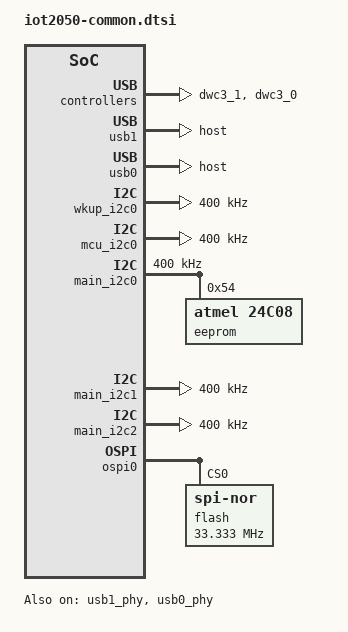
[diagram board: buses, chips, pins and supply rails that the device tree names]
// SPDX-License-Identifier: GPL-2.0
/*
 * (C) Copyright 2019 Siemens AG
 */

/ {
	chosen {
		stdout-path = "serial3:115200n8";
		bootargs = "earlycon=ns16550a,mmio32,0x02800000";
	};

	aliases {
		remoteproc0 = &mcu_r5fss0_core0;
		remoteproc1 = &mcu_r5fss0_core1;
	};
};

&wkup_pmx0 {
	mcu_fss0_ospi0_pins_default: mcu_fss0_ospi0_pins_default {
		pinctrl-single,pins = <
			AM65X_WKUP_IOPAD(0x0000, PIN_OUTPUT, 0) /* (V1) MCU_OSPI0_CLK */
			AM65X_WKUP_IOPAD(0x0008, PIN_INPUT, 0)	 /* (U2) MCU_OSPI0_DQS */
			AM65X_WKUP_IOPAD(0x000c, PIN_OUTPUT, 0)  /* (U4) MCU_OSPI0_D0 */
			AM65X_WKUP_IOPAD(0x0010, PIN_INPUT, 0)  /* (U5) MCU_OSPI0_D1 */
			AM65X_WKUP_IOPAD(0x002c, PIN_OUTPUT, 0) /* (R4) MCU_OSPI0_CSn0 */
		>;
		u-boot,dm-spl;
	};
	wkup_i2c0_pins_default: wkup-i2c0-pins-default {
		pinctrl-single,pins = <
			AM65X_WKUP_IOPAD(0x00e0, PIN_INPUT, 0) /* (AC7) WKUP_I2C0_SCL */
			AM65X_WKUP_IOPAD(0x00e4, PIN_INPUT, 0) /* (AD6) WKUP_I2C0_SDA */
		>;
	};
	mcu_i2c0_pins_default: mcu_i2c0_pins_default {
		pinctrl-single,pins = <
			AM65X_WKUP_IOPAD(0x00e8, PIN_INPUT, 0) /* (AD8) MCU_I2C0_SCL */
			AM65X_WKUP_IOPAD(0x00ec, PIN_INPUT, 0) /* (AD7) MCU_I2C0_SDA */
		>;
	};
};

&main_pmx0 {
	usb0_pins_default: usb0_pins_default {
		pinctrl-single,pins = <
			AM65X_IOPAD(0x02bc, PIN_OUTPUT, 0) /* (AD9) USB0_DRVVBUS */
		>;
	};

	usb1_pins_default: usb1_pins_default {
		pinctrl-single,pins = <
			AM65X_IOPAD(0x02c0, PIN_OUTPUT, 0) /* (AC8) USB1_DRVVBUS */
		>;
	};

	main_i2c2_pins_default: main-i2c2-pins-default {
		pinctrl-single,pins = <
			AM65X_IOPAD(0x0074, PIN_INPUT, 5) /* (T27) GPMC0_CSn3.I2C2_SCL */
			AM65X_IOPAD(0x0070, PIN_INPUT, 5) /* (R25) GPMC0_CSn2.I2C2_SDA */
		>;
	};
};

&main_pmx1 {
	main_i2c0_pins_default: main-i2c0-pins-default {
		pinctrl-single,pins = <
			AM65X_IOPAD(0x0000, PIN_INPUT, 0) /* (D20) I2C0_SCL */
			AM65X_IOPAD(0x0004, PIN_INPUT, 0) /* (C21) I2C0_SDA */
		>;
	};

	main_i2c1_pins_default: main-i2c1-pins-default {
		pinctrl-single,pins = <
			AM65X_IOPAD(0x0008, PIN_INPUT, 0) /* (B21) I2C1_SCL */
			AM65X_IOPAD(0x000c, PIN_INPUT, 0) /* (E21) I2C1_SDA */
		>;
	};
};

&dwc3_1 {
	status = "okay";
};

&usb1_phy {
	status = "okay";
};

&usb1 {
	pinctrl-names = "default";
	pinctrl-0 = <&usb1_pins_default>;
	dr_mode = "host";
};

&dwc3_0 {
	status = "okay";
};

&usb0_phy {
	status = "okay";
};

&usb0 {
	pinctrl-names = "default";
	pinctrl-0 = <&usb0_pins_default>;
	dr_mode = "host";
};

&wkup_i2c0 {
	pinctrl-names = "default";
	pinctrl-0 = <&wkup_i2c0_pins_default>;
	clock-frequency = <400000>;
};

&mcu_i2c0 {
	pinctrl-names = "default";
	pinctrl-0 = <&mcu_i2c0_pins_default>;
	clock-frequency = <400000>;
};

&main_i2c0 {
	pinctrl-names = "default";
	pinctrl-0 = <&main_i2c0_pins_default>;
	clock-frequency = <400000>;
	eeprom: eeprom@54 {
		compatible = "atmel,24c08";
		reg = <0x54>;
		pagesize = <16>;
	};
};

&main_i2c1 {
	pinctrl-names = "default";
	pinctrl-0 = <&main_i2c1_pins_default>;
	clock-frequency = <400000>;
};

&main_i2c2 {
	pinctrl-names = "default";
	pinctrl-0 = <&main_i2c2_pins_default>;
	clock-frequency = <400000>;
};

&ospi0 {
	status = "okay";
	pinctrl-names = "default";
	pinctrl-0 = <&mcu_fss0_ospi0_pins_default>;

	flash@0{
		compatible = "jedec,spi-nor";
		reg = <0x0>;
		spi-tx-bus-width = <1>;
		spi-rx-bus-width = <1>;
		spi-max-frequency = <33333334>;
		cdns,tshsl-ns = <60>;
		cdns,tsd2d-ns = <60>;
		cdns,tchsh-ns = <60>;
		cdns,tslch-ns = <60>;
		cdns,read-delay = <0>;
		#address-cells = <1>;
		#size-cells = <1>;
	};
};
